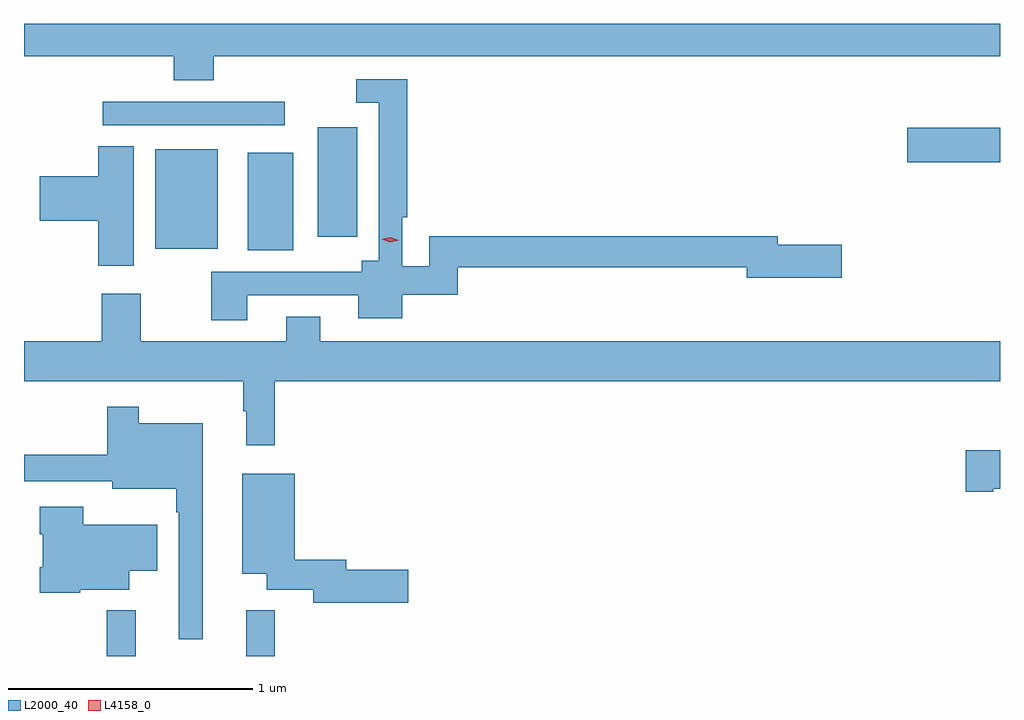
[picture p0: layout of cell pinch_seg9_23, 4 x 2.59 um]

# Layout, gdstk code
import gdstk
lib = gdstk.Library(unit=1e-6, precision=1e-09)
def R(c, l, rs):  # rectangles x0, y0, x1, y1
    for r in rs: c.add(gdstk.rectangle(r[:2], r[2:], *l))
def P(c, l, *ps):  # polygons
    for p in ps: c.add(gdstk.Polygon(p, *l))
L2000_40 = (2000, 40)
L4158_0 = (4158, 0)

pinch_seg9_23 = lib.new_cell('pinch_seg9_23')
R(pinch_seg9_23, L2000_40, [(948.601,1245.909,948.719,1246.096), (949.172,1245.909,949.289,1246.096), (949.178,1247.573,949.366,1247.971), (948.8,1247.579,949.057,1247.986), (949.466,1247.628,949.627,1248.076), (951.882,1247.933,952.262,1248.075), (948.585,1248.084,949.33,1248.18)])
P(pinch_seg9_23, L2000_40, [(949.04,1248.368),(952.262,1248.368),(952.262,1248.5),(948.262,1248.5),(948.262,1248.368),(948.875,1248.368),(948.875,1248.269),(949.04,1248.269)],
  [(949.177,1247.388),(949.631,1247.388),(949.631,1247.294),(949.813,1247.294),(949.813,1247.39),(950.039,1247.39),(950.039,1247.502),(951.224,1247.502),(951.224,1247.459),(951.613,1247.459),(951.613,1247.594),(951.352,1247.594),(951.352,1247.63),(949.923,1247.63),(949.923,1247.507),(949.812,1247.507),(949.812,1247.707),(949.832,1247.707),(949.832,1248.273),(949.623,1248.273),(949.623,1248.177),(949.716,1248.177),(949.716,1247.53),(949.646,1247.53),(949.646,1247.484),(949.03,1247.484),(949.03,1247.286),(949.177,1247.286)],
  [(948.712,1247.999),(948.566,1247.999),(948.566,1247.876),(948.327,1247.876),(948.327,1247.693),(948.566,1247.693),(948.566,1247.508),(948.712,1247.508)],
  [(949.289,1247.036),(952.262,1247.036),(952.262,1247.2),(949.477,1247.2),(949.477,1247.299),(949.337,1247.299),(949.337,1247.2),(948.741,1247.2),(948.741,1247.395),(948.581,1247.395),(948.581,1247.2),(948.262,1247.2),(948.262,1247.036),(949.161,1247.036),(949.161,1246.913),(949.172,1246.913),(949.172,1246.773),(949.289,1246.773)],
  [(948.994,1246.864),(948.733,1246.864),(948.733,1246.93),(948.604,1246.93),(948.604,1246.735),(948.262,1246.735),(948.262,1246.626),(948.623,1246.626),(948.623,1246.595),(948.885,1246.595),(948.885,1246.499),(948.897,1246.499),(948.897,1245.978),(948.994,1245.978)],
  [(952.234,1246.595),(952.262,1246.595),(952.262,1246.753),(952.122,1246.753),(952.122,1246.583),(952.234,1246.583)],
  [(949.837,1246.262),(949.582,1246.262),(949.582,1246.304),(949.372,1246.304),(949.372,1246.657),(949.157,1246.657),(949.157,1246.247),(949.256,1246.247),(949.256,1246.181),(949.448,1246.181),(949.448,1246.127),(949.837,1246.127)],
  [(948.492,1246.181),(948.694,1246.181),(948.694,1246.259),(948.808,1246.259),(948.808,1246.447),(948.504,1246.447),(948.504,1246.522),(948.326,1246.522),(948.326,1246.409),(948.338,1246.409),(948.338,1246.273),(948.326,1246.273),(948.326,1246.169),(948.492,1246.169)])
P(pinch_seg9_23, L4158_0, [(949.763,1247.606),(949.728,1247.617),(949.728,1247.617),(949.728,1247.617),(949.764,1247.626),(949.798,1247.614),(949.798,1247.614),(949.798,1247.614)])

lib.write_gds('pinch_seg9_23.gds')
